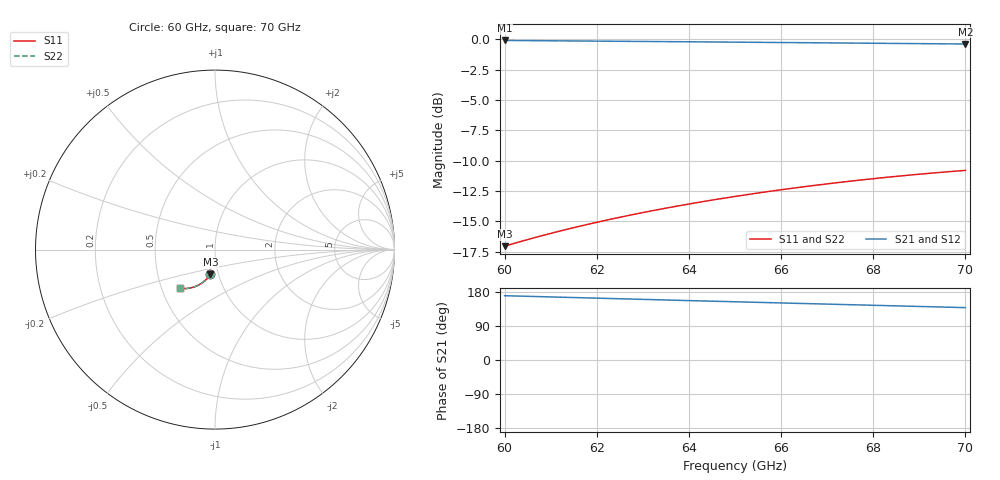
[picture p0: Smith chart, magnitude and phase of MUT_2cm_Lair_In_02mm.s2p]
! TOUCHSTONE file generated by CST MICROWAVE STUDIO
! Date and time: Fri Mar  8 11:09:30 2024
! Project name: material_angular.cst
! Parameters = {d=9.1; Yi=5; iiii=5; exis2=5; exis=5; X=5; Z=5; Y=2}
! Header version: 2018
! Port assignment regex: !\s*Touchstone port\s*([0-9]+)\s*=\s*(CST MWS port|CST DS port)\s*([0-9]+|Zmin|Zmax)\s*\(\"(.*)\"\)(\s*mode\s*([0-9]+))?.*
! Touchstone port assignment:
! Touchstone port 1 = CST MWS port 1 ("")
! Touchstone port 2 = CST MWS port 2 ("")
# GHz S MA R 376.7
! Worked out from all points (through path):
!   1001 points, 60 GHz to 70 GHz, reference 376.7 ohm
!   highest |S21| = -0.09 dB at 60 GHz (marker M1); lowest = -0.4 dB at 70 GHz (marker M2)
!   group delay of S21, straight-line fit = 8.75 ps
!   lowest |S11| = -17.0 dB at 60 GHz (marker M3), VSWR 1.33, Z = 345 - j97.3 ohm
!   |S11| at or under -10 dB: start of sweep to end of sweep
!   |S22| runs from -17.0 to -10.8 dB; largest |S21 - S12| = 0.00039
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60  0.1406 -100.4  0.9901 169.7  0.99 169.7  0.1406 -100.3
60.05  0.1415 -100.5  0.99 169.5  0.9898 169.5  0.1415 -100.5
60.46  0.149 -101.9  0.9888 168.2  0.9887 168.2  0.149 -101.8
60.88  0.1566 -103.3  0.9876 166.8  0.9875 166.8  0.1566 -103.2
61.27  0.1635 -104.5  0.9864 165.5  0.9864 165.5  0.1636 -104.4
61.67  0.1706 -105.8  0.9852 164.2  0.9852 164.2  0.1706 -105.7
62.07  0.1776 -107.1  0.984 162.9  0.9841 162.9  0.1776 -107.0
62.48  0.1846 -108.4  0.9828 161.6  0.9829 161.6  0.1847 -108.4
62.9  0.1917 -109.8  0.9814 160.3  0.9817 160.3  0.1918 -109.7
63.34  0.199 -111.2  0.98 158.9  0.9803 158.9  0.1991 -111.1
63.75  0.2057 -112.5  0.9786 157.6  0.979 157.6  0.2058 -112.4
64.16  0.2123 -113.8  0.9772 156.3  0.9776 156.3  0.2124 -113.7
64.58  0.2189 -115.1  0.9758 154.9  0.9761 154.9  0.219 -115.1
65  0.2254 -116.4  0.9743 153.6  0.9746 153.6  0.2254 -116.4
65.82  0.2376 -119.0  0.9713 151.0  0.9715 151.0  0.2376 -119.0
66.67  0.2495 -121.6  0.9683 148.4  0.9684 148.4  0.2495 -121.6
67.5  0.2605 -124.2  0.9654 145.8  0.9655 145.8  0.2605 -124.2
68.34  0.2708 -126.8  0.9625 143.2  0.9627 143.2  0.2708 -126.8
68.81  0.2762 -128.2  0.961 141.8  0.9611 141.8  0.2762 -128.2
69.29  0.2815 -129.7  0.9595 140.3  0.9596 140.3  0.2815 -129.7
69.93  0.2879 -131.6  0.9577 138.4  0.9576 138.4  0.288 -131.6
70  0.2886 -131.8  0.9575 138.2  0.9573 138.2  0.2887 -131.8
